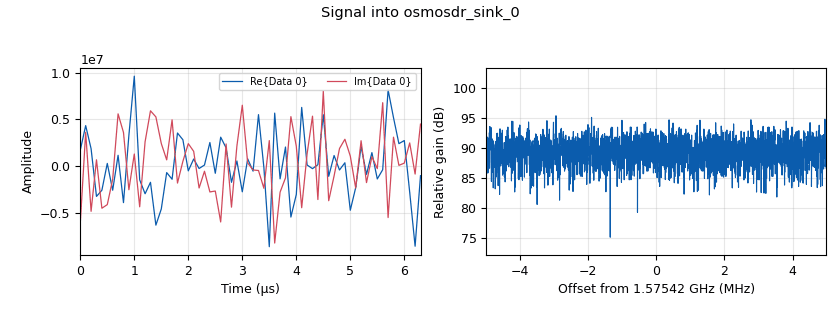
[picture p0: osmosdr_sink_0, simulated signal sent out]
options:
  parameters:
    category: Custom
    generate_options: qt_gui
    id: jammer_gen
    output_language: python
  states: {}

blocks:
- name: bandwidth
  id: variable_qtgui_range
  parameters:
    label: Bandwidth
    start: 2e6
    step: '10'
    stop: 50e6
    value: var_bandwidth
  states: {}
- name: bb_gain
  id: variable_qtgui_range
  parameters:
    label: BB gain
    start: '10'
    step: '10'
    stop: '60'
    value: var_bb_gain
  states: {}
- name: cent_freq
  id: variable_qtgui_range
  parameters:
    label: Freq
    start: 900e6
    step: '500'
    stop: 6500e6
    value: var_cent_freq
  states: {}
- name: if_gain
  id: variable_qtgui_range
  parameters:
    label: IF gain
    start: '10'
    step: '10'
    stop: '60'
    value: var_if_gain
  states: {}
- name: rf_gain
  id: variable_qtgui_range
  parameters:
    label: RF gain
    start: '00'
    step: '10'
    stop: '60'
    value: var_rf_gain
  states: {}
- name: samp_rate
  id: variable
  parameters:
    value: 10e6
  states: {}
- name: var_bandwidth
  id: variable
  parameters:
    value: 10e6
  states: {}
- name: var_bb_gain
  id: variable
  parameters:
    value: '10'
  states: {}
- name: var_cent_freq
  id: variable
  parameters:
    value: 1.57542e9
  states: {}
- name: var_if_gain
  id: variable
  parameters:
    value: '10'
  states: {}
- name: var_rf_gain
  id: variable
  parameters:
    value: '10'
  states: {}
- name: analog_noise_source_x_0
  id: analog_noise_source_x
  parameters:
    amp: '50'
    noise_type: analog.GR_GAUSSIAN
    seed: '0'
    type: complex
  states: {}
- name: blocks_multiply_const_vxx_0
  id: blocks_multiply_const_vxx
  parameters:
    const: '100000'
    type: complex
  states: {}
- name: osmosdr_sink_0
  id: osmosdr_sink
  parameters:
    args: hackrf=0
    bb_gain0: bb_gain
    bw0: bandwidth
    freq0: cent_freq
    gain0: rf_gain
    if_gain0: if_gain
    sample_rate: 10e6
    sync: none
    type: fc32
  states: {}
- name: xmlrpc_server_0
  id: xmlrpc_server
  parameters:
    addr: localhost
    port: '8888'
  states: {}

connections:
- [analog_noise_source_x_0, '0', blocks_multiply_const_vxx_0, '0']
- [blocks_multiply_const_vxx_0, '0', osmosdr_sink_0, '0']

metadata:
  file_format: 1
  grc_version: 3.10.12.0
